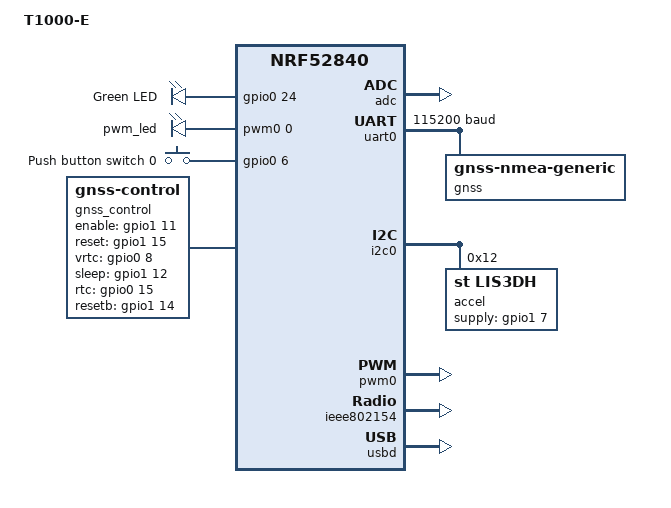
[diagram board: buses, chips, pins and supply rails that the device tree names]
// Copyright (c) 2024 Nordic Semiconductor ASA
// SPDX-License-Identifier: Apache-2.0

/dts-v1/;
#include <nordic/nrf52840_qiaa.dtsi>
#include "t1000_e-pinctrl.dtsi"
#include <zephyr/dt-bindings/input/input-event-codes.h>

/ {
	model = "T1000-E";
	compatible = "seeed,t1000-e";

	chosen {
		zephyr,console = &cdc_acm_uart;
		zephyr,shell-uart = &cdc_acm_uart;
		zephyr,uart-mcumgr = &cdc_acm_uart;
		zephyr,bt-mon-uart = &cdc_acm_uart;
		zephyr,bt-c2h-uart = &cdc_acm_uart;
		zephyr,sram = &sram0;
		zephyr,flash = &flash0;
		zephyr,code-partition = &slot0_partition;
		zephyr,ieee802154 = &ieee802154;
	};

	leds {
		compatible = "gpio-leds";
		led_green: led {
			gpios = <&gpio0 24 GPIO_ACTIVE_HIGH>;
			label = "Green LED";
		};
	};


	pwmleds {
		compatible = "pwm-leds";
		pwm_led: pwm_led {
			pwms = <&pwm0 0 PWM_MSEC(20) PWM_POLARITY_INVERTED>;
		};
	};

	buttons {
		compatible = "gpio-keys";
		button0: button_0 {
			gpios = <&gpio0 6 (GPIO_ACTIVE_HIGH)>;
			label = "Push button switch 0";
			zephyr,code = <INPUT_KEY_0>;
		};
	};

	gnss_control: gnss_control {
		compatible = "gnss-control";
		status = "okay";
		enable-gpios = <&gpio1 11 GPIO_ACTIVE_HIGH>;
		reset-gpios = <&gpio1 15 GPIO_ACTIVE_HIGH>;
		vrtc-gpios = <&gpio0 8 GPIO_ACTIVE_HIGH>;
		sleep-gpios = <&gpio1 12 GPIO_ACTIVE_HIGH>;
		rtc-gpios = <&gpio0 15 GPIO_ACTIVE_HIGH>;
		resetb-gpios = <&gpio1 14 (GPIO_PULL_UP | GPIO_ACTIVE_HIGH)>;
	};

	aliases {
		sw0 = &button0;
		led0 = &led_green;
		pwm-led0 = &pwm_led;
		watchdog0 = &wdt0;
		gnss = &gnss;
	};
};


&adc {
	status = "okay";
};
	
&gpiote {
	status = "okay";
};
	
&uicr {
	nfct-pins-as-gpios;
	gpio-as-nreset;
};
	
&gpio0 {
	status = "okay";
};
	
&gpio1 {
	status = "okay";
};
	
&uart0 {
	status = "okay";
	current-speed = <115200>;
	pinctrl-0 = <&uart0_default>;
	pinctrl-1 = <&uart0_sleep>;
	pinctrl-names = "default", "sleep";

	gnss: AG3335 {
		compatible = "gnss-nmea-generic";
	};
};
	
&i2c0 {
	compatible = "nordic,nrf-twi";
	status = "okay";
	label = "i2c";
	pinctrl-0 = <&i2c0_default>;
	pinctrl-1 = <&i2c0_sleep>;
	pinctrl-names = "default", "sleep";

	qma6100p: qma6100p@12 {
		compatible = "st,lis3dh", "power";
		supply-gpios = <&gpio1 7 GPIO_ACTIVE_HIGH>;
		label = "accel";
		reg = <0x12>;
	};
};
	
&pwm0 {
	status = "okay";
	pinctrl-0 = <&pwm0_default>;
	pinctrl-1 = <&pwm0_sleep>;
	pinctrl-names = "default", "sleep";
};
	
	
&ieee802154 {
	status = "okay";
};
	
zephyr_udc0: &usbd {
	compatible = "nordic,nrf-usbd";
	status = "okay";
	
	cdc_acm_uart: cdc_acm_uart {
		compatible = "zephyr,cdc-acm-uart";
	};
};


&flash0 {

	partitions {
		compatible = "fixed-partitions";
		#address-cells = <1>;
		#size-cells = <1>;

		sd_partition: partition@0 {
			label = "softdevice";
			reg = <0x00000000 0x00027000>;
		};
		slot0_partition: partition@27000 {
			label = "image-0";
			reg = <0x00027000 0x00068000>;
		};

		/* Storage partition will be used by FCB/NFFS/NVS if enabled. */
		storage_partition: partition@e5000 {
			label = "storage";
			reg = <0x000e5000 0x00008000>;
		};
	};
};




